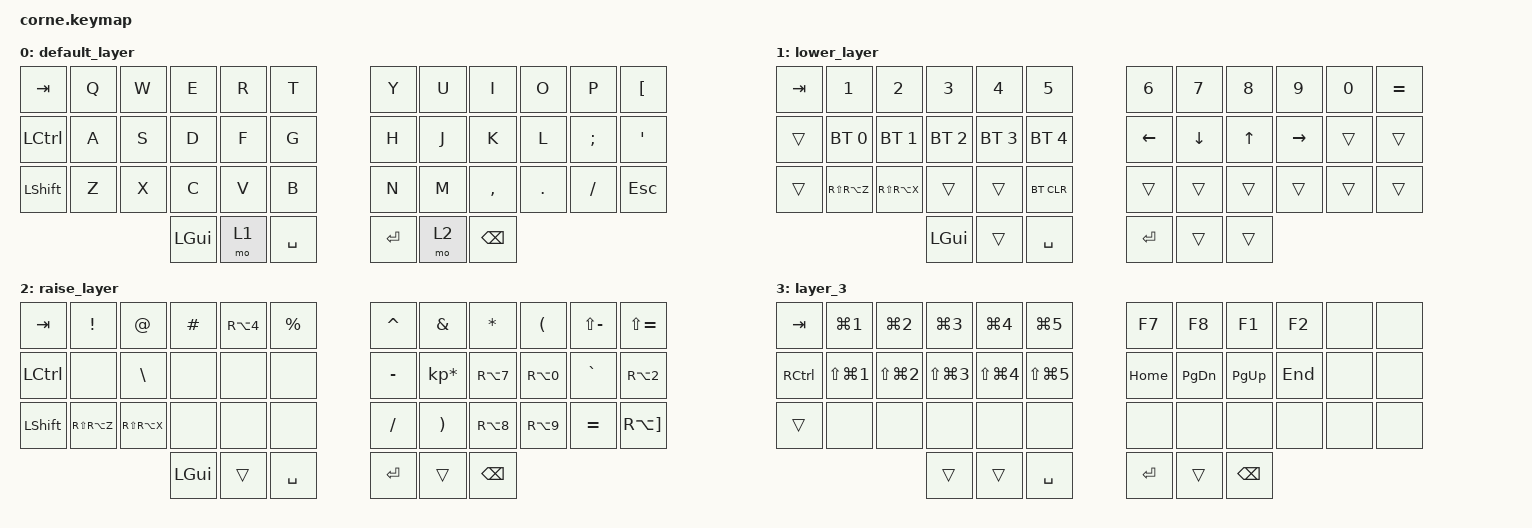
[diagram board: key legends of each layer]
/*
 * Copyright (c) 2020 The ZMK Contributors
 *
 * SPDX-License-Identifier: MIT
 */

#include <behaviors.dtsi>
#include <dt-bindings/zmk/bt.h>
#include <dt-bindings/zmk/keys.h>

/ {
    combos {
        compatible = "zmk,combos";

        Layer3 {
            bindings = <&mo 3>;
            key-positions = <37 40>;
        };
    };

    macros {
        w1: w1 {
            compatible = "zmk,behavior-macro";
            #binding-cells = <0>;
            bindings = <&kp LG(NUMBER_1)>;
            label = "W1";
        };

        w2: w2 {
            compatible = "zmk,behavior-macro";
            #binding-cells = <0>;
            bindings = <&kp LG(NUMBER_2)>;
            label = "W2";
        };

        w3: w3 {
            compatible = "zmk,behavior-macro";
            #binding-cells = <0>;
            bindings = <&kp LG(NUMBER_3)>;
            label = "W3";
        };

        w4: w4 {
            compatible = "zmk,behavior-macro";
            #binding-cells = <0>;
            bindings = <&kp LG(NUMBER_4)>;
            label = "W4";
        };

        w5: w5 {
            compatible = "zmk,behavior-macro";
            #binding-cells = <0>;
            bindings = <&kp LG(NUMBER_5)>;
            label = "W5";
        };

        dollar: dollar {
            compatible = "zmk,behavior-macro";
            #binding-cells = <0>;
            bindings = <&none &kp RA(NUMBER_4)>;
            label = "DOLLAR";
        };
    };

    keymap {
        compatible = "zmk,keymap";

        default_layer {
            // -----------------------------------------------------------------------------------------
            // |  TAB |  Q  |  W  |  E  |  R  |  T  |   |  Y  |  U   |  I  |  O  |  P  | BKSP |
            // | CTRL |  A  |  S  |  D  |  F  |  G  |   |  H  |  J   |  K  |  L  |  ;  |  '   |
            // | SHFT |  Z  |  X  |  C  |  V  |  B  |   |  N  |  M   |  ,  |  .  |  /  | ESC  |
            //                    | GUI | LWR | SPC |   | ENT | RSE  | ALT |

            bindings = <
&kp TAB    &kp Q  &kp W  &kp E     &kp R  &kp T        &kp Y    &kp U  &kp I          &kp O    &kp P     &kp LEFT_BRACKET
&kp LCTRL  &kp A  &kp S  &kp D     &kp F  &kp G        &kp H    &kp J  &kp K          &kp L    &kp SEMI  &kp SQT
&kp LSHFT  &kp Z  &kp X  &kp C     &kp V  &kp B        &kp N    &kp M  &kp COMMA      &kp DOT  &kp FSLH  &kp ESC
                         &kp LGUI  &mo 1  &kp SPACE    &kp RET  &mo 2  &kp BACKSPACE
            >;
        };

        lower_layer {
            // -----------------------------------------------------------------------------------------
            // |  TAB |  1  |  2  |  3  |  4  |  5  |   |  6  |  7  |  8  |  9  |  0  | BKSP |
            // | BTCLR| BT1 | BT2 | BT3 | BT4 | BT5 |   | LFT | DWN |  UP | RGT |     |      |
            // | SHFT |     |     |     |     |     |   |     |     |     |     |     |      |
            //                    | GUI |     | SPC |   | ENT |     | ALT |

            bindings = <
&kp TAB  &kp N1         &kp N2         &kp N3        &kp N4        &kp N5          &kp N6    &kp N7    &kp N8  &kp N9     &kp N0  &kp EQUAL
&trans   &bt BT_SEL 0   &bt BT_SEL 1   &bt BT_SEL 2  &bt BT_SEL 3  &bt BT_SEL 4    &kp LEFT  &kp DOWN  &kp UP  &kp RIGHT  &trans  &trans
&trans   &kp RS(RA(Z))  &kp RS(RA(X))  &trans        &trans        &bt BT_CLR      &trans    &trans    &trans  &trans     &trans  &trans
                                       &kp LGUI      &trans        &kp SPACE       &kp RET   &trans    &trans
            >;
        };

        raise_layer {
            // -----------------------------------------------------------------------------------------
            // |  TAB |  !  |  @  |  #  |  $  |  %  |   |  ^  |  &  |  *  |  (  |  )  | BKSP |
            // | CTRL |     |     |     |     |     |   |  -  |  =  |  [  |  ]  |  \  |  `   |
            // | SHFT |     |     |     |     |     |   |  _  |  +  |  {  |  }  | "|" |  ~   |
            //                    | GUI |     | SPC |   | ENT |     | ALT |

            bindings = <
&kp TAB    &kp EXCL       &kp AT         &kp HASH  &kp RA(NUMBER_4)  &kp PRCNT    &kp CARET  &kp AMPS               &kp ASTERISK   &kp LPAR    &kp LS(MINUS)  &kp LS(EQUAL)
&kp LCTRL  &none          &kp BACKSLASH  &none     &none             &none        &kp MINUS  &kp KP_MULTIPLY        &kp RA(N7)     &kp RA(N0)  &kp GRAVE      &kp RA(N2)
&kp LSHFT  &kp RS(RA(Z))  &kp RS(RA(X))  &none     &none             &none        &kp SLASH  &kp RIGHT_PARENTHESIS  &kp RA(N8)     &kp RA(N9)  &kp EQUAL      &kp RA(RIGHT_BRACKET)
                                         &kp LGUI  &trans            &kp SPACE    &kp RET    &trans                 &kp BACKSPACE
            >;
        };

        layer_3 {
            bindings = <
&kp TAB    &kp LG(NUMBER_1)  &kp LG(NUMBER_2)  &kp LG(NUMBER_3)  &kp LG(NUMBER_4)  &kp LG(N5)        &kp F7     &kp F8         &kp F1         &kp F2   &none  &none
&kp RCTRL  &kp LS(LG(N1))    &kp LS(LG(N2))    &kp LS(LG(N3))    &kp LS(LG(N4))    &kp LS(LG(N5))    &kp HOME   &kp PAGE_DOWN  &kp PAGE_UP    &kp END  &none  &none
&trans     &none             &none             &none             &none             &none             &none      &none          &none          &none    &none  &none
                                               &trans            &trans            &kp SPACE         &kp ENTER  &trans         &kp BACKSPACE
            >;
        };
    };
};
